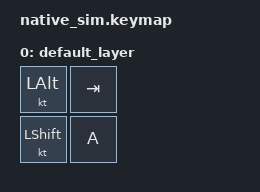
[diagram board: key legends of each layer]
#include <dt-bindings/zmk/keys.h>
#include <behaviors.dtsi>
#include <dt-bindings/zmk/input_mock.h>

&mock_input {
    events = <
    /* Toggle LALT on */
        ZMK_INPUT_MOCK_PRESS(0,0,10)
        ZMK_INPUT_MOCK_RELEASE(0,0,10)
    /* Tap TAB twice */
        ZMK_INPUT_MOCK_PRESS(0,1,10)
        ZMK_INPUT_MOCK_RELEASE(0,1,10)
        ZMK_INPUT_MOCK_PRESS(0,1,10)
        ZMK_INPUT_MOCK_RELEASE(0,1,10)
    /* Toggle LSHFT on */
        ZMK_INPUT_MOCK_PRESS(1,0,10)
        ZMK_INPUT_MOCK_RELEASE(1,0,10)
    /* Tap TAB once */
        ZMK_INPUT_MOCK_PRESS(0,1,10)
        ZMK_INPUT_MOCK_RELEASE(0,1,10)
    /* Toggle LALT off */
        ZMK_INPUT_MOCK_PRESS(0,0,10)
        ZMK_INPUT_MOCK_RELEASE(0,0,10)
    /* Tap A */
        ZMK_INPUT_MOCK_PRESS(1,1,10)
        ZMK_INPUT_MOCK_RELEASE(1,1,10)
    /* Toggle LSHFT off */
        ZMK_INPUT_MOCK_PRESS(1,0,10)
        ZMK_INPUT_MOCK_RELEASE(1,0,10)
    /* Tap A */
        ZMK_INPUT_MOCK_PRESS(1,1,10)
        ZMK_INPUT_MOCK_RELEASE(1,1,10)
    >;
};

/ {
    keymap {
        compatible = "zmk,keymap";

        default_layer {
            bindings = <
                &kt LALT &kp TAB
                &kt LSHFT &kp A
            >;
        };
    };
};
